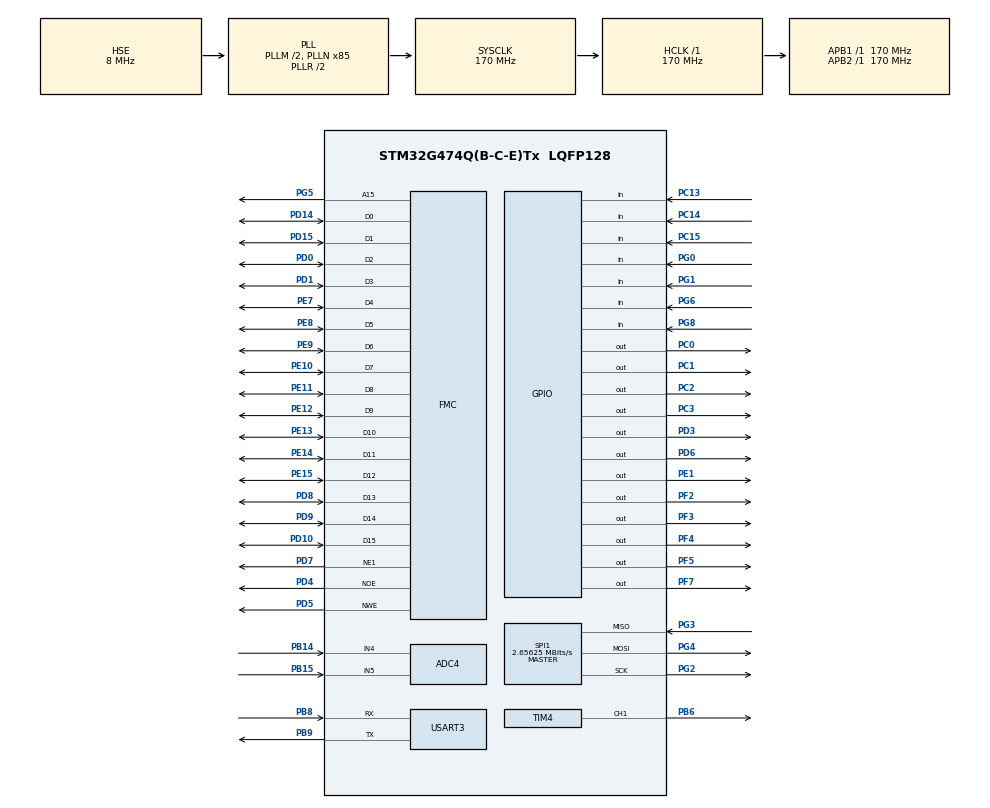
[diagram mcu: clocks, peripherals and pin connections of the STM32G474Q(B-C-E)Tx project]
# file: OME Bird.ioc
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ADC4.Channel-0\#ChannelRegularConversion=ADC_CHANNEL_4
ADC4.Channel-1\#ChannelRegularConversion=ADC_CHANNEL_4
ADC4.DMAContinuousRequests=ENABLE
ADC4.ExternalTrigConv=ADC_EXTERNALTRIG_T1_TRGO
ADC4.NbrOfConversion=2
ADC4.NbrOfConversionFlag=1
ADC4.OffsetNumber-0\#ChannelRegularConversion=ADC_OFFSET_NONE
ADC4.OffsetNumber-1\#ChannelRegularConversion=ADC_OFFSET_NONE
ADC4.Rank-0\#ChannelRegularConversion=1
ADC4.Rank-1\#ChannelRegularConversion=2
ADC4.SamplingTime-0\#ChannelRegularConversion=ADC_SAMPLETIME_640CYCLES_5
ADC4.SamplingTime-1\#ChannelRegularConversion=ADC_SAMPLETIME_2CYCLES_5
ADC4.SingleDiff-0\#ChannelRegularConversion=ADC_DIFFERENTIAL_ENDED
ADC4.SingleDiff-1\#ChannelRegularConversion=ADC_DIFFERENTIAL_ENDED
Dma.ADC4.0.Direction=DMA_PERIPH_TO_MEMORY
Dma.ADC4.0.EventEnable=DISABLE
Dma.ADC4.0.Instance=DMA1_Channel2
Dma.ADC4.0.MemDataAlignment=DMA_MDATAALIGN_HALFWORD
Dma.ADC4.0.MemInc=DMA_MINC_ENABLE
Dma.ADC4.0.Mode=DMA_CIRCULAR
Dma.ADC4.0.PeriphDataAlignment=DMA_PDATAALIGN_HALFWORD
Dma.ADC4.0.PeriphInc=DMA_PINC_DISABLE
Dma.ADC4.0.Polarity=HAL_DMAMUX_REQ_GEN_RISING
Dma.ADC4.0.Priority=DMA_PRIORITY_LOW
Dma.ADC4.0.RequestNumber=1
Dma.ADC4.0.SignalID=NONE
Dma.ADC4.0.SyncEnable=DISABLE
Dma.ADC4.0.SyncPolarity=HAL_DMAMUX_SYNC_NO_EVENT
Dma.ADC4.0.SyncRequestNumber=1
Dma.ADC4.0.SyncSignalID=NONE
Dma.MEMTOMEM.1.Direction=DMA_MEMORY_TO_MEMORY
Dma.MEMTOMEM.1.EventEnable=DISABLE
Dma.MEMTOMEM.1.Instance=DMA1_Channel1
Dma.MEMTOMEM.1.MemDataAlignment=DMA_MDATAALIGN_BYTE
Dma.MEMTOMEM.1.MemInc=DMA_MINC_ENABLE
Dma.MEMTOMEM.1.Mode=DMA_NORMAL
Dma.MEMTOMEM.1.PeriphDataAlignment=DMA_PDATAALIGN_BYTE
Dma.MEMTOMEM.1.PeriphInc=DMA_PINC_ENABLE
Dma.MEMTOMEM.1.Polarity=HAL_DMAMUX_REQ_GEN_RISING
Dma.MEMTOMEM.1.Priority=DMA_PRIORITY_HIGH
Dma.MEMTOMEM.1.RequestNumber=1
Dma.MEMTOMEM.1.SignalID=NONE
Dma.MEMTOMEM.1.SyncEnable=DISABLE
Dma.MEMTOMEM.1.SyncPolarity=HAL_DMAMUX_SYNC_NO_EVENT
Dma.MEMTOMEM.1.SyncRequestNumber=1
Dma.MEMTOMEM.1.SyncSignalID=NONE
Dma.Request0=ADC4
Dma.Request1=MEMTOMEM
FMC.AddressSetupTime1=1
FMC.BusTurnAroundDuration1=1
FMC.DataHoldTime1=1
FMC.DataSetupTime1=1
Mcu.Family=STM32G4
Mcu.Name=STM32G474Q(B-C-E)Tx
Mcu.Package=LQFP128
NVIC.DMA1_Channel1_IRQn=true\:0\:0\:false\:false\:true\:false\:true\:true
NVIC.DMA1_Channel2_IRQn=true\:0\:0\:false\:false\:true\:false\:true\:true
NVIC.PriorityGroup=NVIC_PRIORITYGROUP_4
NVIC.TIM6_DAC_IRQn=true\:15\:0\:true\:false\:true\:true\:true\:true
NVIC.USART3_IRQn=true\:0\:0\:false\:false\:true\:true\:true\:true
PB14.Mode=IN4-Differential
PB14.Signal=ADC4_IN4
PB15.Mode=IN4-Differential
PB15.Signal=ADC4_IN5
PB6.Signal=S_TIM4_CH1
PB8-BOOT0.Mode=Asynchronous
PB8-BOOT0.Signal=USART3_RX
PB9.Mode=Asynchronous
PB9.Signal=USART3_TX
PC0.Signal=GPIO_Output
PC1.Signal=GPIO_Output
PC13.GPIO_PuPd=GPIO_PULLUP
PC13.Signal=GPIO_Input
PC14-OSC32_IN.GPIO_PuPd=GPIO_PULLUP
PC14-OSC32_IN.Signal=GPIO_Input
PC15-OSC32_OUT.GPIO_PuPd=GPIO_PULLUP
PC15-OSC32_OUT.Signal=GPIO_Input
PC2.Signal=GPIO_Output
PC3.Signal=GPIO_Output
PD0.Signal=FMC_D2_DA2
PD1.Signal=FMC_D3_DA3
PD10.Signal=FMC_D15_DA15
PD14.Signal=FMC_D0_DA0
PD15.Signal=FMC_D1_DA1
PD3.Signal=GPIO_Output
PD4.Signal=FMC_NOE
PD5.Signal=FMC_NWE
PD6.Signal=GPIO_Output
PD7.Mode=NorPsramChipSelect1_1
PD7.Signal=FMC_NE1
PD8.Signal=FMC_D13_DA13
PD9.Signal=FMC_D14_DA14
PE1.Signal=GPIO_Output
PE10.Signal=FMC_D7_DA7
PE11.Signal=FMC_D8_DA8
PE12.Signal=FMC_D9_DA9
PE13.Signal=FMC_D10_DA10
PE14.Signal=FMC_D11_DA11
PE15.Signal=FMC_D12_DA12
PE7.Signal=FMC_D4_DA4
PE8.Signal=FMC_D5_DA5
PE9.Signal=FMC_D6_DA6
PF0-OSC_IN.Mode=HSE-External-Clock-Source
PF0-OSC_IN.Signal=RCC_OSC_IN
PF2.Signal=GPIO_Output
PF3.Signal=GPIO_Output
PF4.Signal=GPIO_Output
PF5.Signal=GPIO_Output
PF7.Signal=GPIO_Output
PG0.GPIO_PuPd=GPIO_PULLUP
PG0.Signal=GPIO_Input
PG1.GPIO_PuPd=GPIO_PULLUP
PG1.Signal=GPIO_Input
PG2.Mode=Full_Duplex_Master
PG2.Signal=SPI1_SCK
PG3.Mode=Full_Duplex_Master
PG3.Signal=SPI1_MISO
PG4.Mode=Full_Duplex_Master
PG4.Signal=SPI1_MOSI
PG5.Signal=FMC_A15
PG6.GPIO_PuPd=GPIO_PULLUP
PG6.Signal=GPIO_Input
PG8.GPIO_PuPd=GPIO_PULLUP
PG8.Signal=GPIO_Input
ProjectManager.HeapSize=0x200
ProjectManager.StackSize=0x400
ProjectManager.TargetToolchain=STM32CubeIDE
RCC.ADC12Freq_Value=170000000
RCC.ADC345Freq_Value=170000000
RCC.AHBFreq_Value=170000000
RCC.APB1Freq_Value=170000000
RCC.APB1TimFreq_Value=170000000
RCC.APB2Freq_Value=170000000
RCC.APB2TimFreq_Value=170000000
RCC.CortexFreq_Value=170000000
RCC.EXTERNAL_CLOCK_VALUE=12288000
RCC.HCLKFreq_Value=170000000
RCC.HSE_VALUE=8000000
RCC.HSI48_VALUE=48000000
RCC.HSI_VALUE=16000000
RCC.LSE_VALUE=32768
RCC.PLLM=RCC_PLLM_DIV2
RCC.PLLN=85
RCC.PLLQ=RCC_PLLQ_DIV6
RCC.PLLSourceVirtual=RCC_PLLSOURCE_HSE
RCC.SYSCLKFreq_VALUE=170000000
RCC.SYSCLKSource=RCC_SYSCLKSOURCE_PLLCLK
RCC.USBFreq_Value=56666666.666666664
RCC.VCOOutputFreq_Value=340000000
SH.FMC_A15.0=FMC_A15,A15_1
SH.FMC_D0_DA0.0=FMC_D0,16b-d1
SH.FMC_D10_DA10.0=FMC_D10,16b-d1
SH.FMC_D11_DA11.0=FMC_D11,16b-d1
SH.FMC_D12_DA12.0=FMC_D12,16b-d1
SH.FMC_D13_DA13.0=FMC_D13,16b-d1
SH.FMC_D14_DA14.0=FMC_D14,16b-d1
SH.FMC_D15_DA15.0=FMC_D15,16b-d1
SH.FMC_D1_DA1.0=FMC_D1,16b-d1
SH.FMC_D2_DA2.0=FMC_D2,16b-d1
SH.FMC_D3_DA3.0=FMC_D3,16b-d1
SH.FMC_D4_DA4.0=FMC_D4,16b-d1
SH.FMC_D5_DA5.0=FMC_D5,16b-d1
SH.FMC_D6_DA6.0=FMC_D6,16b-d1
SH.FMC_D7_DA7.0=FMC_D7,16b-d1
SH.FMC_D8_DA8.0=FMC_D8,16b-d1
SH.FMC_D9_DA9.0=FMC_D9,16b-d1
SH.FMC_NOE.0=FMC_NOE,Lcd1
SH.FMC_NWE.0=FMC_NWE,Lcd1
SH.S_TIM4_CH1.0=TIM4_CH1,PWM Generation1 CH1
SPI1.BaudRatePrescaler=SPI_BAUDRATEPRESCALER_64
SPI1.CalculateBaudRate=2.65625 MBits/s
SPI1.DataSize=SPI_DATASIZE_8BIT
SPI1.Direction=SPI_DIRECTION_2LINES
SPI1.Mode=SPI_MODE_MASTER
SPI1.NSSPMode=SPI_NSS_PULSE_DISABLE
SPI1.VirtualType=VM_MASTER
TIM1.TIM_MasterOutputTrigger=TIM_TRGO_UPDATE
TIM4.Channel-PWM\ Generation1\ CH1=TIM_CHANNEL_1
TIM4.PeriodNoDither=99
TIM4.Prescaler=1439
TIM6.PeriodNoDither=49999
TIM6.Prescaler=143
USART3.OverrunDisableParam=ADVFEATURE_OVERRUN_DISABLE
USART3.VirtualMode-Asynchronous=VM_ASYNC
VP_SYS_VS_DBSignals.Mode=DisableDeadBatterySignals
VP_TIM1_VS_ClockSourceINT.Mode=Internal
VP_TIM4_VS_ClockSourceINT.Mode=Internal
VP_TIM6_VS_ClockSourceINT.Mode=Enable_Timer
board=custom

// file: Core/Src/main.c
/* USER CODE BEGIN Header */
/**
  ******************************************************************************
  * @file           : main.c
  * @brief          : Main program body
  ******************************************************************************
  * @attention
  *
  * Copyright (c) 2022 STMicroelectronics.
  * All rights reserved.
  *
  * This software is licensed under terms that can be found in the LICENSE file
  * in the root directory of this software component.
  * If no LICENSE file comes with this software, it is provided AS-IS.
  *
  ******************************************************************************
  */
/* USER CODE END Header */
#include "main.h"

/* USER CODE BEGIN Includes */

#include "LED.h"
#include "kbd.h"
#include "SCI.h"
#include "timing_utils.h"
#include "periodic_services.h"
#include "lcd_backlight.h"
#include "lcd.h"
#include "joystick.h"
#include "objects.h"
#include "graphics.h"
#include "game.h"

/* USER CODE END Includes */

ADC_HandleTypeDef hadc4;
DMA_HandleTypeDef hdma_adc4;

SPI_HandleTypeDef hspi1;

TIM_HandleTypeDef htim1;

DMA_HandleTypeDef hdma_memtomem_dma1_channel1;
SRAM_HandleTypeDef hsram1;

void SystemClock_Config(void);
static void MX_GPIO_Init(void);
static void MX_DMA_Init(void);
static void MX_USART3_UART_Init(void);
static void MX_TIM6_Init(void);
static void MX_TIM4_Init(void);
static void MX_FMC_Init(void);
static void MX_ADC4_Init(void);
static void MX_SPI1_Init(void);
static void MX_TIM1_Init(void);

int main(void)
{

  /* MCU Configuration--------------------------------------------------------*/

  /* Reset of all peripherals, Initializes the Flash interface and the Systick. */
  HAL_Init();

  /* Configure the system clock */
  SystemClock_Config();

  /* Initialize all configured peripherals */
  MX_GPIO_Init();
  MX_DMA_Init();
  MX_USART3_UART_Init();
  MX_TIM6_Init();
  MX_TIM4_Init();
  MX_FMC_Init();
  MX_SPI1_Init();
  MX_TIM1_Init();
  /* USER CODE BEGIN 2 */
  MX_ADC4_Init();
  SCI_init();
  KBD_init();
  LED_init();
  PSERV_init();
  PSERV_enable();
  LCD_Init();
  LCD_uGUI_init();
  JOY_init(&hadc4, &htim1);

  /* USER CODE END 2 */

  /* Infinite loop */
  while (1)
  {

    /* USER CODE BEGIN 3 */

    Game();
  }
  /* USER CODE END 3 */
}

void SystemClock_Config(void)
{
  RCC_OscInitTypeDef RCC_OscInitStruct = {0};
  RCC_ClkInitTypeDef RCC_ClkInitStruct = {0};

  /** Configure the main internal regulator output voltage
  */
  HAL_PWREx_ControlVoltageScaling(PWR_REGULATOR_VOLTAGE_SCALE1_BOOST);

  /** Initializes the RCC Oscillators according to the specified parameters
  * in the RCC_OscInitTypeDef structure.
  */
  RCC_OscInitStruct.OscillatorType = RCC_OSCILLATORTYPE_HSE;
  RCC_OscInitStruct.HSEState = RCC_HSE_BYPASS;
  RCC_OscInitStruct.PLL.PLLState = RCC_PLL_ON;
  RCC_OscInitStruct.PLL.PLLSource = RCC_PLLSOURCE_HSE;
  RCC_OscInitStruct.PLL.PLLM = RCC_PLLM_DIV2;
  RCC_OscInitStruct.PLL.PLLN = 85;
  RCC_OscInitStruct.PLL.PLLP = RCC_PLLP_DIV2;
  RCC_OscInitStruct.PLL.PLLQ = RCC_PLLQ_DIV6;
  RCC_OscInitStruct.PLL.PLLR = RCC_PLLR_DIV2;
  if (HAL_RCC_OscConfig(&RCC_OscInitStruct) != HAL_OK)
  {
    Error_Handler();
  }

  /** Initializes the CPU, AHB and APB buses clocks
  */
  RCC_ClkInitStruct.ClockType = RCC_CLOCKTYPE_HCLK|RCC_CLOCKTYPE_SYSCLK
                              |RCC_CLOCKTYPE_PCLK1|RCC_CLOCKTYPE_PCLK2;
  RCC_ClkInitStruct.SYSCLKSource = RCC_SYSCLKSOURCE_PLLCLK;
  RCC_ClkInitStruct.AHBCLKDivider = RCC_SYSCLK_DIV1;
  RCC_ClkInitStruct.APB1CLKDivider = RCC_HCLK_DIV1;
  RCC_ClkInitStruct.APB2CLKDivider = RCC_HCLK_DIV1;

  if (HAL_RCC_ClockConfig(&RCC_ClkInitStruct, FLASH_LATENCY_4) != HAL_OK)
  {
    Error_Handler();
  }
}

static void MX_ADC4_Init(void)
{

  ADC_ChannelConfTypeDef sConfig = {0};

  /** Common config
  */
  hadc4.Instance = ADC4;
  hadc4.Init.ClockPrescaler = ADC_CLOCK_SYNC_PCLK_DIV4;
  hadc4.Init.Resolution = ADC_RESOLUTION_12B;
  hadc4.Init.DataAlign = ADC_DATAALIGN_RIGHT;
  hadc4.Init.GainCompensation = 0;
  hadc4.Init.ScanConvMode = ADC_SCAN_ENABLE;
  hadc4.Init.EOCSelection = ADC_EOC_SINGLE_CONV;
  hadc4.Init.LowPowerAutoWait = DISABLE;
  hadc4.Init.ContinuousConvMode = DISABLE;
  hadc4.Init.NbrOfConversion = 2;
  hadc4.Init.DiscontinuousConvMode = DISABLE;
  hadc4.Init.ExternalTrigConv = ADC_EXTERNALTRIG_T1_TRGO;
  hadc4.Init.ExternalTrigConvEdge = ADC_EXTERNALTRIGCONVEDGE_RISING;
  hadc4.Init.DMAContinuousRequests = ENABLE;
  hadc4.Init.Overrun = ADC_OVR_DATA_PRESERVED;
  hadc4.Init.OversamplingMode = DISABLE;
  if (HAL_ADC_Init(&hadc4) != HAL_OK)
  {
    Error_Handler();
  }

  /** Configure Regular Channel
  */
  sConfig.Channel = ADC_CHANNEL_4;
  sConfig.Rank = ADC_REGULAR_RANK_1;
  sConfig.SamplingTime = ADC_SAMPLETIME_640CYCLES_5;
  sConfig.SingleDiff = ADC_DIFFERENTIAL_ENDED;
  sConfig.OffsetNumber = ADC_OFFSET_NONE;
  sConfig.Offset = 0;
  if (HAL_ADC_ConfigChannel(&hadc4, &sConfig) != HAL_OK)
  {
    Error_Handler();
  }

  /** Configure Regular Channel
  */
  sConfig.Rank = ADC_REGULAR_RANK_2;
  sConfig.SamplingTime = ADC_SAMPLETIME_2CYCLES_5;
  if (HAL_ADC_ConfigChannel(&hadc4, &sConfig) != HAL_OK)
  {
    Error_Handler();
  }

}

static void MX_SPI1_Init(void)
{

  /* SPI1 parameter configuration*/
  hspi1.Instance = SPI1;
  hspi1.Init.Mode = SPI_MODE_MASTER;
  hspi1.Init.Direction = SPI_DIRECTION_2LINES;
  hspi1.Init.DataSize = SPI_DATASIZE_8BIT;
  hspi1.Init.CLKPolarity = SPI_POLARITY_LOW;
  hspi1.Init.CLKPhase = SPI_PHASE_1EDGE;
  hspi1.Init.NSS = SPI_NSS_SOFT;
  hspi1.Init.BaudRatePrescaler = SPI_BAUDRATEPRESCALER_64;
  hspi1.Init.FirstBit = SPI_FIRSTBIT_MSB;
  hspi1.Init.TIMode = SPI_TIMODE_DISABLE;
  hspi1.Init.CRCCalculation = SPI_CRCCALCULATION_DISABLE;
  hspi1.Init.CRCPolynomial = 7;
  hspi1.Init.CRCLength = SPI_CRC_LENGTH_DATASIZE;
  hspi1.Init.NSSPMode = SPI_NSS_PULSE_DISABLE;
  if (HAL_SPI_Init(&hspi1) != HAL_OK)
  {
    Error_Handler();
  }

}

static void MX_TIM1_Init(void)
{

  TIM_ClockConfigTypeDef sClockSourceConfig = {0};
  TIM_MasterConfigTypeDef sMasterConfig = {0};

  htim1.Instance = TIM1;
  htim1.Init.Prescaler = 0;
  htim1.Init.CounterMode = TIM_COUNTERMODE_UP;
  htim1.Init.Period = 65535;
  htim1.Init.ClockDivision = TIM_CLOCKDIVISION_DIV1;
  htim1.Init.RepetitionCounter = 0;
  htim1.Init.AutoReloadPreload = TIM_AUTORELOAD_PRELOAD_DISABLE;
  if (HAL_TIM_Base_Init(&htim1) != HAL_OK)
  {
    Error_Handler();
  }
  sClockSourceConfig.ClockSource = TIM_CLOCKSOURCE_INTERNAL;
  if (HAL_TIM_ConfigClockSource(&htim1, &sClockSourceConfig) != HAL_OK)
  {
    Error_Handler();
  }
  sMasterConfig.MasterOutputTrigger = TIM_TRGO_UPDATE;
  sMasterConfig.MasterOutputTrigger2 = TIM_TRGO2_RESET;
  sMasterConfig.MasterSlaveMode = TIM_MASTERSLAVEMODE_DISABLE;
  if (HAL_TIMEx_MasterConfigSynchronization(&htim1, &sMasterConfig) != HAL_OK)
  {
    Error_Handler();
  }

}

static void MX_TIM4_Init(void)
{

  LL_TIM_InitTypeDef TIM_InitStruct = {0};
  LL_TIM_OC_InitTypeDef TIM_OC_InitStruct = {0};

  LL_GPIO_InitTypeDef GPIO_InitStruct = {0};

  /* Peripheral clock enable */
  LL_APB1_GRP1_EnableClock(LL_APB1_GRP1_PERIPH_TIM4);

  TIM_InitStruct.Prescaler = 1439;
  TIM_InitStruct.CounterMode = LL_TIM_COUNTERMODE_UP;
  TIM_InitStruct.Autoreload = 99;
  TIM_InitStruct.ClockDivision = LL_TIM_CLOCKDIVISION_DIV1;
  LL_TIM_Init(TIM4, &TIM_InitStruct);
  LL_TIM_DisableARRPreload(TIM4);
  LL_TIM_SetClockSource(TIM4, LL_TIM_CLOCKSOURCE_INTERNAL);
  LL_TIM_OC_EnablePreload(TIM4, LL_TIM_CHANNEL_CH1);
  TIM_OC_InitStruct.OCMode = LL_TIM_OCMODE_PWM1;
  TIM_OC_InitStruct.OCState = LL_TIM_OCSTATE_DISABLE;
  TIM_OC_InitStruct.OCNState = LL_TIM_OCSTATE_DISABLE;
  TIM_OC_InitStruct.CompareValue = 0;
  TIM_OC_InitStruct.OCPolarity = LL_TIM_OCPOLARITY_HIGH;
  LL_TIM_OC_Init(TIM4, LL_TIM_CHANNEL_CH1, &TIM_OC_InitStruct);
  LL_TIM_OC_DisableFast(TIM4, LL_TIM_CHANNEL_CH1);
  LL_TIM_SetTriggerOutput(TIM4, LL_TIM_TRGO_RESET);
  LL_TIM_DisableMasterSlaveMode(TIM4);
  LL_AHB2_GRP1_EnableClock(LL_AHB2_GRP1_PERIPH_GPIOB);
  /**TIM4 GPIO Configuration
  PB6   ------> TIM4_CH1
  */
  GPIO_InitStruct.Pin = LL_GPIO_PIN_6;
  GPIO_InitStruct.Mode = LL_GPIO_MODE_ALTERNATE;
  GPIO_InitStruct.Speed = LL_GPIO_SPEED_FREQ_LOW;
  GPIO_InitStruct.OutputType = LL_GPIO_OUTPUT_PUSHPULL;
  GPIO_InitStruct.Pull = LL_GPIO_PULL_NO;
  GPIO_InitStruct.Alternate = LL_GPIO_AF_2;
  LL_GPIO_Init(GPIOB, &GPIO_InitStruct);

}

static void MX_TIM6_Init(void)
{

  LL_TIM_InitTypeDef TIM_InitStruct = {0};

  /* Peripheral clock enable */
  LL_APB1_GRP1_EnableClock(LL_APB1_GRP1_PERIPH_TIM6);

  /* TIM6 interrupt Init */
  NVIC_SetPriority(TIM6_DAC_IRQn, NVIC_EncodePriority(NVIC_GetPriorityGrouping(),15, 0));
  NVIC_EnableIRQ(TIM6_DAC_IRQn);

  TIM_InitStruct.Prescaler = 143;
  TIM_InitStruct.CounterMode = LL_TIM_COUNTERMODE_UP;
  TIM_InitStruct.Autoreload = 49999;
  LL_TIM_Init(TIM6, &TIM_InitStruct);
  LL_TIM_DisableARRPreload(TIM6);
  LL_TIM_SetTriggerOutput(TIM6, LL_TIM_TRGO_RESET);
  LL_TIM_DisableMasterSlaveMode(TIM6);

}

static void MX_USART3_UART_Init(void)
{

  LL_USART_InitTypeDef USART_InitStruct = {0};

  LL_GPIO_InitTypeDef GPIO_InitStruct = {0};
  RCC_PeriphCLKInitTypeDef PeriphClkInit = {0};

  /** Initializes the peripherals clocks
  */
  PeriphClkInit.PeriphClockSelection = RCC_PERIPHCLK_USART3;
  PeriphClkInit.Usart3ClockSelection = RCC_USART3CLKSOURCE_PCLK1;
  if (HAL_RCCEx_PeriphCLKConfig(&PeriphClkInit) != HAL_OK)
  {
    Error_Handler();
  }

  /* Peripheral clock enable */
  LL_APB1_GRP1_EnableClock(LL_APB1_GRP1_PERIPH_USART3);

  LL_AHB2_GRP1_EnableClock(LL_AHB2_GRP1_PERIPH_GPIOB);
  /**USART3 GPIO Configuration
  PB8-BOOT0   ------> USART3_RX
  PB9   ------> USART3_TX
  */
  GPIO_InitStruct.Pin = LL_GPIO_PIN_8;
  GPIO_InitStruct.Mode = LL_GPIO_MODE_ALTERNATE;
  GPIO_InitStruct.Speed = LL_GPIO_SPEED_FREQ_LOW;
  GPIO_InitStruct.OutputType = LL_GPIO_OUTPUT_PUSHPULL;
  GPIO_InitStruct.Pull = LL_GPIO_PULL_NO;
  GPIO_InitStruct.Alternate = LL_GPIO_AF_7;
  LL_GPIO_Init(GPIOB, &GPIO_InitStruct);

  GPIO_InitStruct.Pin = LL_GPIO_PIN_9;
  GPIO_InitStruct.Mode = LL_GPIO_MODE_ALTERNATE;
  GPIO_InitStruct.Speed = LL_GPIO_SPEED_FREQ_LOW;
  GPIO_InitStruct.OutputType = LL_GPIO_OUTPUT_PUSHPULL;
  GPIO_InitStruct.Pull = LL_GPIO_PULL_NO;
  GPIO_InitStruct.Alternate = LL_GPIO_AF_7;
  LL_GPIO_Init(GPIOB, &GPIO_InitStruct);

  /* USART3 interrupt Init */
  NVIC_SetPriority(USART3_IRQn, NVIC_EncodePriority(NVIC_GetPriorityGrouping(),0, 0));
  NVIC_EnableIRQ(USART3_IRQn);

  USART_InitStruct.PrescalerValue = LL_USART_PRESCALER_DIV1;
  USART_InitStruct.BaudRate = 115200;
  USART_InitStruct.DataWidth = LL_USART_DATAWIDTH_8B;
  USART_InitStruct.StopBits = LL_USART_STOPBITS_1;
  USART_InitStruct.Parity = LL_USART_PARITY_NONE;
  USART_InitStruct.TransferDirection = LL_USART_DIRECTION_TX_RX;
  USART_InitStruct.HardwareFlowControl = LL_USART_HWCONTROL_NONE;
  USART_InitStruct.OverSampling = LL_USART_OVERSAMPLING_16;
  LL_USART_Init(USART3, &USART_InitStruct);
  LL_USART_SetTXFIFOThreshold(USART3, LL_USART_FIFOTHRESHOLD_1_8);
  LL_USART_SetRXFIFOThreshold(USART3, LL_USART_FIFOTHRESHOLD_1_8);
  LL_USART_DisableFIFO(USART3);
  LL_USART_DisableOverrunDetect(USART3);
  LL_USART_ConfigAsyncMode(USART3);

  LL_USART_Enable(USART3);

  /* Polling USART3 initialisation */
  while((!(LL_USART_IsActiveFlag_TEACK(USART3))) || (!(LL_USART_IsActiveFlag_REACK(USART3))))
  {
  }

}

static void MX_DMA_Init(void)
{

  /* DMA controller clock enable */
  __HAL_RCC_DMAMUX1_CLK_ENABLE();
  __HAL_RCC_DMA1_CLK_ENABLE();

  /* Configure DMA request hdma_memtomem_dma1_channel1 on DMA1_Channel1 */
  hdma_memtomem_dma1_channel1.Instance = DMA1_Channel1;
  hdma_memtomem_dma1_channel1.Init.Request = DMA_REQUEST_MEM2MEM;
  hdma_memtomem_dma1_channel1.Init.Direction = DMA_MEMORY_TO_MEMORY;
  hdma_memtomem_dma1_channel1.Init.PeriphInc = DMA_PINC_ENABLE;
  hdma_memtomem_dma1_channel1.Init.MemInc = DMA_MINC_ENABLE;
  hdma_memtomem_dma1_channel1.Init.PeriphDataAlignment = DMA_PDATAALIGN_BYTE;
  hdma_memtomem_dma1_channel1.Init.MemDataAlignment = DMA_MDATAALIGN_BYTE;
  hdma_memtomem_dma1_channel1.Init.Mode = DMA_NORMAL;
  hdma_memtomem_dma1_channel1.Init.Priority = DMA_PRIORITY_HIGH;
  if (HAL_DMA_Init(&hdma_memtomem_dma1_channel1) != HAL_OK)
  {
    Error_Handler( );
  }

  /* DMA interrupt init */
  /* DMA1_Channel1_IRQn interrupt configuration */
  HAL_NVIC_SetPriority(DMA1_Channel1_IRQn, 0, 0);
  HAL_NVIC_EnableIRQ(DMA1_Channel1_IRQn);
  /* DMA1_Channel2_IRQn interrupt configuration */
  HAL_NVIC_SetPriority(DMA1_Channel2_IRQn, 0, 0);
  HAL_NVIC_EnableIRQ(DMA1_Channel2_IRQn);

}

/* FMC initialization function */
static void MX_FMC_Init(void)
{

  FMC_NORSRAM_TimingTypeDef Timing = {0};

  /** Perform the SRAM1 memory initialization sequence
  */
  hsram1.Instance = FMC_NORSRAM_DEVICE;
  hsram1.Extended = FMC_NORSRAM_EXTENDED_DEVICE;
  /* hsram1.Init */
  hsram1.Init.NSBank = FMC_NORSRAM_BANK1;
  hsram1.Init.DataAddressMux = FMC_DATA_ADDRESS_MUX_DISABLE;
  hsram1.Init.MemoryType = FMC_MEMORY_TYPE_SRAM;
  hsram1.Init.MemoryDataWidth = FMC_NORSRAM_MEM_BUS_WIDTH_16;
  hsram1.Init.BurstAccessMode = FMC_BURST_ACCESS_MODE_DISABLE;
  hsram1.Init.WaitSignalPolarity = FMC_WAIT_SIGNAL_POLARITY_LOW;
  hsram1.Init.WaitSignalActive = FMC_WAIT_TIMING_BEFORE_WS;
  hsram1.Init.WriteOperation = FMC_WRITE_OPERATION_ENABLE;
  hsram1.Init.WaitSignal = FMC_WAIT_SIGNAL_DISABLE;
  hsram1.Init.ExtendedMode = FMC_EXTENDED_MODE_DISABLE;
  hsram1.Init.AsynchronousWait = FMC_ASYNCHRONOUS_WAIT_DISABLE;
  hsram1.Init.WriteBurst = FMC_WRITE_BURST_DISABLE;
  hsram1.Init.ContinuousClock = FMC_CONTINUOUS_CLOCK_SYNC_ONLY;
  hsram1.Init.WriteFifo = FMC_WRITE_FIFO_ENABLE;
  hsram1.Init.NBLSetupTime = 0;
  hsram1.Init.PageSize = FMC_PAGE_SIZE_NONE;
  hsram1.Init.MaxChipSelectPulse = DISABLE;
  /* Timing */
  Timing.AddressSetupTime = 1;
  Timing.AddressHoldTime = 15;
  Timing.DataSetupTime = 1;
  Timing.DataHoldTime = 1;
  Timing.BusTurnAroundDuration = 1;
  Timing.CLKDivision = 16;
  Timing.DataLatency = 17;
  Timing.AccessMode = FMC_ACCESS_MODE_A;
  /* ExtTiming */

  if (HAL_SRAM_Init(&hsram1, &Timing, NULL) != HAL_OK)
  {
    Error_Handler( );
  }

}

static void MX_GPIO_Init(void)
{
  LL_GPIO_InitTypeDef GPIO_InitStruct = {0};

  /* GPIO Ports Clock Enable */
  LL_AHB2_GRP1_EnableClock(LL_AHB2_GRP1_PERIPH_GPIOC);
  LL_AHB2_GRP1_EnableClock(LL_AHB2_GRP1_PERIPH_GPIOF);
  LL_AHB2_GRP1_EnableClock(LL_AHB2_GRP1_PERIPH_GPIOE);
  LL_AHB2_GRP1_EnableClock(LL_AHB2_GRP1_PERIPH_GPIOB);
  LL_AHB2_GRP1_EnableClock(LL_AHB2_GRP1_PERIPH_GPIOD);
  LL_AHB2_GRP1_EnableClock(LL_AHB2_GRP1_PERIPH_GPIOG);

  /**/
  LL_GPIO_ResetOutputPin(GPIOF, LL_GPIO_PIN_3);

  /**/
  LL_GPIO_ResetOutputPin(GPIOF, LL_GPIO_PIN_4);

  /**/
  LL_GPIO_ResetOutputPin(GPIOF, LL_GPIO_PIN_5);

  /**/
  LL_GPIO_ResetOutputPin(GPIOC, LL_GPIO_PIN_0);

  /**/
  LL_GPIO_ResetOutputPin(GPIOC, LL_GPIO_PIN_1);

  /**/
  LL_GPIO_ResetOutputPin(GPIOC, LL_GPIO_PIN_2);

  /**/
  LL_GPIO_ResetOutputPin(GPIOC, LL_GPIO_PIN_3);

  /**/
  LL_GPIO_ResetOutputPin(GPIOF, LL_GPIO_PIN_2);

  /**/
  LL_GPIO_ResetOutputPin(GPIOD, LL_GPIO_PIN_3);

  /**/
  LL_GPIO_ResetOutputPin(GPIOD, LL_GPIO_PIN_6);

  /**/
  LL_GPIO_ResetOutputPin(GPIOE, LL_GPIO_PIN_1);

  /**/
  GPIO_InitStruct.Pin = LL_GPIO_PIN_13;
  GPIO_InitStruct.Mode = LL_GPIO_MODE_INPUT;
  GPIO_InitStruct.Pull = LL_GPIO_PULL_UP;
  LL_GPIO_Init(GPIOC, &GPIO_InitStruct);

  /**/
  GPIO_InitStruct.Pin = LL_GPIO_PIN_14;
  GPIO_InitStruct.Mode = LL_GPIO_MODE_INPUT;
  GPIO_InitStruct.Pull = LL_GPIO_PULL_UP;
  LL_GPIO_Init(GPIOC, &GPIO_InitStruct);

  /**/
  GPIO_InitStruct.Pin = LL_GPIO_PIN_15;
  GPIO_InitStruct.Mode = LL_GPIO_MODE_INPUT;
  GPIO_InitStruct.Pull = LL_GPIO_PULL_UP;
  LL_GPIO_Init(GPIOC, &GPIO_InitStruct);

  /**/
  GPIO_InitStruct.Pin = LL_GPIO_PIN_3;
  GPIO_InitStruct.Mode = LL_GPIO_MODE_OUTPUT;
  GPIO_InitStruct.Speed = LL_GPIO_SPEED_FREQ_LOW;
  GPIO_InitStruct.OutputType = LL_GPIO_OUTPUT_PUSHPULL;
  GPIO_InitStruct.Pull = LL_GPIO_PULL_NO;
  LL_GPIO_Init(GPIOF, &GPIO_InitStruct);

  /**/
  GPIO_InitStruct.Pin = LL_GPIO_PIN_4;
  GPIO_InitStruct.Mode = LL_GPIO_MODE_OUTPUT;
  GPIO_InitStruct.Speed = LL_GPIO_SPEED_FREQ_LOW;
  GPIO_InitStruct.OutputType = LL_GPIO_OUTPUT_PUSHPULL;
  GPIO_InitStruct.Pull = LL_GPIO_PULL_NO;
  LL_GPIO_Init(GPIOF, &GPIO_InitStruct);

  /**/
  GPIO_InitStruct.Pin = LL_GPIO_PIN_5;
  GPIO_InitStruct.Mode = LL_GPIO_MODE_OUTPUT;
  GPIO_InitStruct.Speed = LL_GPIO_SPEED_FREQ_LOW;
  GPIO_InitStruct.OutputType = LL_GPIO_OUTPUT_PUSHPULL;
  GPIO_InitStruct.Pull = LL_GPIO_PULL_NO;
  LL_GPIO_Init(GPIOF, &GPIO_InitStruct);

  /**/
  GPIO_InitStruct.Pin = LL_GPIO_PIN_0;
  GPIO_InitStruct.Mode = LL_GPIO_MODE_OUTPUT;
  GPIO_InitStruct.Speed = LL_GPIO_SPEED_FREQ_LOW;
  GPIO_InitStruct.OutputType = LL_GPIO_OUTPUT_PUSHPULL;
  GPIO_InitStruct.Pull = LL_GPIO_PULL_NO;
  LL_GPIO_Init(GPIOC, &GPIO_InitStruct);

  /**/
  GPIO_InitStruct.Pin = LL_GPIO_PIN_1;
  GPIO_InitStruct.Mode = LL_GPIO_MODE_OUTPUT;
  GPIO_InitStruct.Speed = LL_GPIO_SPEED_FREQ_LOW;
  GPIO_InitStruct.OutputType = LL_GPIO_OUTPUT_PUSHPULL;
  GPIO_InitStruct.Pull = LL_GPIO_PULL_NO;
  LL_GPIO_Init(GPIOC, &GPIO_InitStruct);

  /**/
  GPIO_InitStruct.Pin = LL_GPIO_PIN_2;
  GPIO_InitStruct.Mode = LL_GPIO_MODE_OUTPUT;
  GPIO_InitStruct.Speed = LL_GPIO_SPEED_FREQ_LOW;
  GPIO_InitStruct.OutputType = LL_GPIO_OUTPUT_PUSHPULL;
  GPIO_InitStruct.Pull = LL_GPIO_PULL_NO;
  LL_GPIO_Init(GPIOC, &GPIO_InitStruct);

  /**/
  GPIO_InitStruct.Pin = LL_GPIO_PIN_3;
  GPIO_InitStruct.Mode = LL_GPIO_MODE_OUTPUT;
  GPIO_InitStruct.Speed = LL_GPIO_SPEED_FREQ_LOW;
  GPIO_InitStruct.OutputType = LL_GPIO_OUTPUT_PUSHPULL;
  GPIO_InitStruct.Pull = LL_GPIO_PULL_NO;
  LL_GPIO_Init(GPIOC, &GPIO_InitStruct);

  /**/
  GPIO_InitStruct.Pin = LL_GPIO_PIN_7;
  GPIO_InitStruct.Mode = LL_GPIO_MODE_OUTPUT;
  GPIO_InitStruct.Speed = LL_GPIO_SPEED_FREQ_LOW;
  GPIO_InitStruct.OutputType = LL_GPIO_OUTPUT_PUSHPULL;
  GPIO_InitStruct.Pull = LL_GPIO_PULL_NO;
  LL_GPIO_Init(GPIOF, &GPIO_InitStruct);

  /**/
  GPIO_InitStruct.Pin = LL_GPIO_PIN_2;
  GPIO_InitStruct.Mode = LL_GPIO_MODE_OUTPUT;
  GPIO_InitStruct.Speed = LL_GPIO_SPEED_FREQ_LOW;
  GPIO_InitStruct.OutputType = LL_GPIO_OUTPUT_PUSHPULL;
  GPIO_InitStruct.Pull = LL_GPIO_PULL_NO;
  LL_GPIO_Init(GPIOF, &GPIO_InitStruct);

  /**/
  GPIO_InitStruct.Pin = LL_GPIO_PIN_0;
  GPIO_InitStruct.Mode = LL_GPIO_MODE_INPUT;
  GPIO_InitStruct.Pull = LL_GPIO_PULL_UP;
  LL_GPIO_Init(GPIOG, &GPIO_InitStruct);

  /**/
  GPIO_InitStruct.Pin = LL_GPIO_PIN_1;
  GPIO_InitStruct.Mode = LL_GPIO_MODE_INPUT;
  GPIO_InitStruct.Pull = LL_GPIO_PULL_UP;
  LL_GPIO_Init(GPIOG, &GPIO_InitStruct);

  /**/
  GPIO_InitStruct.Pin = LL_GPIO_PIN_6;
  GPIO_InitStruct.Mode = LL_GPIO_MODE_INPUT;
  GPIO_InitStruct.Pull = LL_GPIO_PULL_UP;
  LL_GPIO_Init(GPIOG, &GPIO_InitStruct);

  /**/
  GPIO_InitStruct.Pin = LL_GPIO_PIN_8;
  GPIO_InitStruct.Mode = LL_GPIO_MODE_INPUT;
  GPIO_InitStruct.Pull = LL_GPIO_PULL_UP;
  LL_GPIO_Init(GPIOG, &GPIO_InitStruct);

  /**/
  GPIO_InitStruct.Pin = LL_GPIO_PIN_3;
  GPIO_InitStruct.Mode = LL_GPIO_MODE_OUTPUT;
  GPIO_InitStruct.Speed = LL_GPIO_SPEED_FREQ_LOW;
  GPIO_InitStruct.OutputType = LL_GPIO_OUTPUT_PUSHPULL;
  GPIO_InitStruct.Pull = LL_GPIO_PULL_NO;
  LL_GPIO_Init(GPIOD, &GPIO_InitStruct);

  /**/
  GPIO_InitStruct.Pin = LL_GPIO_PIN_6;
  GPIO_InitStruct.Mode = LL_GPIO_MODE_OUTPUT;
  GPIO_InitStruct.Speed = LL_GPIO_SPEED_FREQ_LOW;
  GPIO_InitStruct.OutputType = LL_GPIO_OUTPUT_PUSHPULL;
  GPIO_InitStruct.Pull = LL_GPIO_PULL_NO;
  LL_GPIO_Init(GPIOD, &GPIO_InitStruct);

  /**/
  GPIO_InitStruct.Pin = LL_GPIO_PIN_1;
  GPIO_InitStruct.Mode = LL_GPIO_MODE_OUTPUT;
  GPIO_InitStruct.Speed = LL_GPIO_SPEED_FREQ_LOW;
  GPIO_InitStruct.OutputType = LL_GPIO_OUTPUT_PUSHPULL;
  GPIO_InitStruct.Pull = LL_GPIO_PULL_NO;
  LL_GPIO_Init(GPIOE, &GPIO_InitStruct);

}

void Error_Handler(void)
{
  __disable_irq();
  while (1)
  {
  }
}
